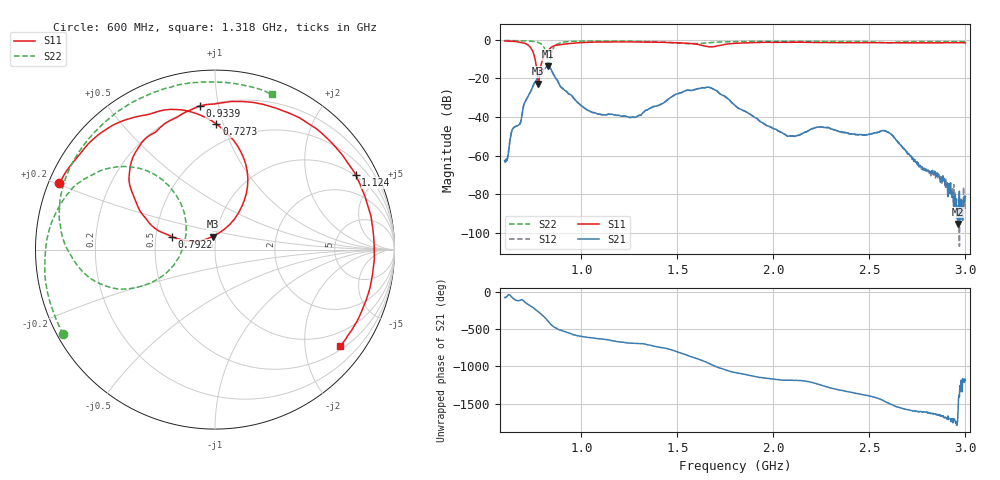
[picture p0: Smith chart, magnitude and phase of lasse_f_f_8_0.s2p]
#  HZ  S  RI  R  50.00
! Rohde & Schwarz ZVB8 2Ports - Version 2.81 - 1145.1010k08 SN: 100113
! Date: 2016-05-04 02:49:57
! Measurements: S11 S21 S12 S22
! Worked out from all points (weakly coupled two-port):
!   1000 points, 600 MHz to 3 GHz, reference 50 ohm
!   highest |S21| = -13.76 dB at 825.8 MHz (marker M1); lowest = -95.5 dB at 2.962 GHz (marker M2)
!   lowest |S11| = -22.6 dB at 775.4 MHz (marker M3), VSWR 1.16, Z = 48.2 + j7.06 ohm
!   |S11| at or under -10 dB: 758.5 MHz to 798.4 MHz (39.99 MHz wide, 5.14 % of centre)
!   |S22| runs from -15.1 to -0.3 dB; largest |S21 - S12| = 0.0019
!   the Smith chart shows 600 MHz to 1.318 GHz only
!   S11 on the Smith chart (normalised r, x): 600 MHz: 0.03, +0.20; 727.3 MHz: 0.35, +0.95; 792.2 MHz: 0.61, +0.09; 933.9 MHz: 0.19, +0.88; 1.124 GHz: 0.97, +3.79; 1.318 GHz: 0.58, -2.83
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6e8  -0.8664 0.3701  0.000159 -0.000726  0.00012 -0.000668  -0.8458 -0.4726
6.408408e8  -0.7166 0.5772  0.000842 -0.00474  0.000846 -0.00472  -0.9114 -0.3158
6.768769e8  -0.4848 0.7274  -0.00314 -0.00566  -0.00313 -0.00556  -0.945 -0.1672
7.273273e8  0.00821 0.6996  -0.0388 -0.000247  -0.0387 -0.00105  -0.9329 0.0735
7.753754e8  -0.013 0.0729  -0.00231 0.1094  -0.00358 0.1103  -0.7875 0.35
7.921922e8  -0.2398 0.0719  0.0822 0.1183  0.0812 0.1181  -0.6398 0.4395
8.258258e8  -0.4492 0.2878  0.1714 -0.1124  0.1713 -0.1113  -0.1605 0.1452
8.546547e8  -0.4505 0.5283  -0.0381 -0.1222  -0.0373 -0.1227  -0.5716 -0.214
9.339339e8  -0.0847 0.8006  -0.0388 0.00813  -0.0389 0.00803  -0.8626 0.2842
1.001201e9  0.2772 0.8066  -0.00976 0.0167  -0.00987 0.0167  -0.7447 0.5636
1.123724e9  0.7842 0.4158  0.00181 0.0111  0.00187 0.0112  -0.3923 0.8529
1.318318e9  0.6989 -0.5386  0.0116 0.00508  0.0115 0.00509  0.3192 0.8663
1.4e9  0.379 -0.7823  0.0186 -0.00714  0.0186 -0.00708  0.5836 0.6888
1.657057e9  -0.4875 -0.4648  -0.0361 0.0473  -0.0365 0.047  0.8406 -0.0324
1.801201e9  -0.7772 -0.2524  0.0197 -0.0019  0.0196 -0.00175  0.7251 -0.5408
2.072673e9  -0.4975 0.7107  -0.000952 -0.00311  -0.000984 -0.00306  -0.0859 -0.9097
2.2e9  0.00102 0.8557  -0.00353 -0.00341  -0.0035 -0.00348  -0.4443 -0.7979
2.423423e9  0.765 0.3771  0.000581 0.00359  0.000513 0.0035  -0.8307 -0.3711
2.601201e9  0.7608 -0.373  0.00223 -0.00324  0.00227 -0.00324  -0.8418 0.00262
2.776577e9  0.2176 -0.8123  -0.000497 -7.59e-05  -0.000479 -5.98e-05  -0.8201 0.3753
2.961562e9  -0.4391 -0.7243  -1.68e-05 -1.26e-06  -6.56e-06 3.44e-05  -0.5678 0.7
3e9  -0.5558 -0.6376  -2.63e-05 -8.19e-05  -4.56e-05 -8.4e-05  -0.4937 0.7509
